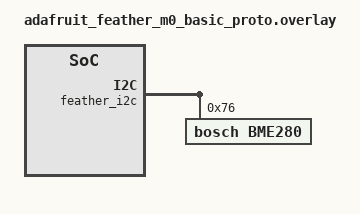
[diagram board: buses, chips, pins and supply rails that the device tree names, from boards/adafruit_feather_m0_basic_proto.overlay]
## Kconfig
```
# Copyright (c) 2020, Nordic Semiconductor ASA
# SPDX-License-Identifier: Apache-2.0

config LOG
	default n

config LOG_PRINTK
	default n

config SENSOR_LOG_LEVEL
	default 4

# Enable SPI and I2C support by default so that the sample works with
# the device connected either way. These defaults can be overridden if
# needed.
config SPI
	default n

config I2C
	default y

source "Kconfig.zephyr"
```

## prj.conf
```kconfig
CONFIG_SENSOR=y

CONFIG_BT=y
CONFIG_BT_PERIPHERAL=y
CONFIG_BT_DEVICE_NAME="BLE BME280"

CONFIG_USB_DEVICE_STACK=n

CONFIG_LOG=n
CONFIG_CONSOLE=n
CONFIG_SERIAL=n

CONFIG_PM=y
CONFIG_PM_DEVICE=y
CONFIG_PM_DEVICE_RUNTIME=y

CONFIG_SPI=n
CONFIG_BME280_TEMP_OVER_16X=y
CONFIG_BME280_PRESS_OVER_2X=y
CONFIG_BME280_STANDBY_250MS=y
CONFIG_TEMP_NRF5=n

CONFIG_ADC=y
```

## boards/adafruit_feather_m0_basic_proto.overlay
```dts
/*
 * Copyright (c) 2020 Jacek Ozimek <jacek.ozmk@gmail.com>
 *
 * SPDX-License-Identifier: Apache-2.0
 */


&feather_i2c {
	bme280: bme280@76 {
		/* 0x76 - SDO <-> GND */
		/* 0x77 - SDO <-> VCC */
		compatible = "bosch,bme280";
		reg = <0x76>;
	};
};
```

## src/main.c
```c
/*
 * Copyright (c) 2012-2014 Wind River Systems, Inc.
 * Copyright (c) 2021 Nordic Semiconductor ASA
 *
 * SPDX-License-Identifier: Apache-2.0
 */

// Von bme280
#include <zephyr/kernel.h>
#include <zephyr/device.h>
#include <zephyr/devicetree.h>
#include <zephyr/drivers/sensor.h>

// von BTHome
#include <zephyr/bluetooth/bluetooth.h>
#include <zephyr/bluetooth/uuid.h>

// von battery
#include <math.h>
#include <stdio.h>
#include <stdlib.h>
#include "battery.h"

// von BTHome
#define SERVICE_DATA_LEN 12
#define SERVICE_UUID 0xfcd2 /* BTHome service UUID */

#define IDX_TEMPL 4 /* Index of lo byte of temp in service data*/
#define IDX_TEMPH 5 /* Index of hi byte of temp in service data*/

#define IDX_HUML 7 // Index lo byte fuer Luftfeuchtigkeit
#define IDX_HUMH 8 // Index hi byte fuer Luftfeuchtigkeit

// #define IDX_PRESSL 10 // Index lo byte fuer Luftdruck
// #define IDX_PRESSM 11 // Index mittleres byte fuer Luftdruck
// #define IDX_PRESSH 12 // Index hi byte fuer Luftdruck

#define IDX_VOLTAGEL 10
#define IDX_VOLTAGEH 11

#define ADV_PARAM BT_LE_ADV_PARAM(BT_LE_ADV_OPT_CONNECTABLE, \
								  BT_GAP_ADV_SLOW_INT_MIN,   \
								  BT_GAP_ADV_SLOW_INT_MAX, NULL)

static uint8_t service_data[SERVICE_DATA_LEN] = {
	BT_UUID_16_ENCODE(SERVICE_UUID),
	0x40,

	0x02, /* Temperature */
	0x00, /* Low byte */
	0x00, /* High byte */

	0x03, /* Humidity */
	0x00, /* 50.55%  low byte*/
	0x00, /* 50.55%  high byte*/

	// 0x04, // Luftdruck
	// 0x00, // Low byte
	// 0x00, // Mittleres Byte
	// 0x00,  // High Byte

	0x4A, // Batteriespannung
	0x00, // Low byte
	0x00  // High Byte
};

static struct bt_data ad[] = {
	BT_DATA_BYTES(BT_DATA_FLAGS, BT_LE_AD_GENERAL | BT_LE_AD_NO_BREDR),
	BT_DATA(BT_DATA_NAME_COMPLETE, CONFIG_BT_DEVICE_NAME, sizeof(CONFIG_BT_DEVICE_NAME) - 1),
	BT_DATA(BT_DATA_SVC_DATA16, service_data, ARRAY_SIZE(service_data))};

static void bt_ready(int err)
{
	if (err)
	{
		return;
	}

	/* Start advertising */
	err = bt_le_adv_start(ADV_PARAM, ad, ARRAY_SIZE(ad), NULL, 0);
	if (err)
	{
		return;
	}
}

static const struct device *get_bme280_device(void)
{
	const struct device *const dev = DEVICE_DT_GET_ANY(bosch_bme280);

	if (dev == NULL)
	{
		return NULL;
	}

	if (!device_is_ready(dev))
	{
		return NULL;
	}

	return dev;
}

int main(void)
{
	// BME280
	const struct device *dev = get_bme280_device();

	if (dev == NULL)
	{
		return 0;
	}

	int err;
	int temp_data = 0;
	int hum_data = 0;
	// int press_data = 0;

	// Battery
	int rc = battery_measure_enable(true);

	if (rc != 0)
	{
		return 0;
	}

	// Loop
	for (;;)
	{
		// BME280 lesen
		struct sensor_value temp, press, humidity;

		sensor_sample_fetch(dev);
		sensor_channel_get(dev, SENSOR_CHAN_AMBIENT_TEMP, &temp);
		// sensor_channel_get(dev, SENSOR_CHAN_PRESS, &press);
		sensor_channel_get(dev, SENSOR_CHAN_HUMIDITY, &humidity);

		temp_data = temp.val1 * 100 + temp.val2 / 10000;
		hum_data = humidity.val1 * 100 + humidity.val2 / 10000;
		// press_data = press.val1 * 1000 + press.val2 / 100000; // Druck wird in kPa gemessen, statt hPa

		// Battery lesen
		int batt_mV = battery_sample();
		int batt_2digits = (batt_mV + 50) / 100;

		service_data[IDX_TEMPL] = temp_data & 0xff;
		service_data[IDX_TEMPH] = temp_data >> 8;

		service_data[IDX_HUML] = hum_data & 0xff;
		service_data[IDX_HUMH] = hum_data >> 8;

		// service_data[IDX_PRESSL] = press_data & 0xff;
		// service_data[IDX_PRESSM] = (press_data >> 8) & 0xff;
		// service_data[IDX_PRESSH] = (press_data >> 16) & 0xff;

		service_data[IDX_VOLTAGEL] = batt_2digits & 0xff;
		service_data[IDX_VOLTAGEH] = (batt_2digits >> 8) & 0xff;

		err = bt_enable(bt_ready);
		k_sleep(K_SECONDS(30));

		err = bt_le_adv_update_data(ad, ARRAY_SIZE(ad), NULL, 0);
		k_sleep(K_SECONDS(30));

		err = bt_le_adv_stop();
		k_sleep(K_SECONDS(30));

		err = bt_disable();
		k_sleep(K_MSEC(900000));
		
	}
	return 0;
}
```

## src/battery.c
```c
/*
 * Copyright (c) 2018-2019 Peter Bigot Consulting, LLC
 * Copyright (c) 2019-2020 Nordic Semiconductor ASA
 *
 * SPDX-License-Identifier: Apache-2.0
 */

#include <math.h>
#include <stdio.h>
#include <stdlib.h>

#include <zephyr/kernel.h>
#include <zephyr/init.h>
#include <zephyr/drivers/gpio.h>
#include <zephyr/drivers/adc.h>
#include <zephyr/drivers/sensor.h>
#include <zephyr/logging/log.h>

#include "battery.h"

LOG_MODULE_REGISTER(BATTERY, CONFIG_ADC_LOG_LEVEL);

#define VBATT DT_PATH(vbatt)
#define ZEPHYR_USER DT_PATH(zephyr_user)

#ifdef CONFIG_BOARD_THINGY52_NRF52832
/* This board uses a divider that reduces max voltage to
 * reference voltage (600 mV).
 */
#define BATTERY_ADC_GAIN ADC_GAIN_1
#else
/* Other boards may use dividers that only reduce battery voltage to
 * the maximum supported by the hardware (3.6 V)
 */
#define BATTERY_ADC_GAIN ADC_GAIN_1_6
#endif

struct io_channel_config {
	uint8_t channel;
};

struct divider_config {
	struct io_channel_config io_channel;
	struct gpio_dt_spec power_gpios;
	/* output_ohm is used as a flag value: if it is nonzero then
	 * the battery is measured through a voltage divider;
	 * otherwise it is assumed to be directly connected to Vdd.
	 */
	uint32_t output_ohm;
	uint32_t full_ohm;
};

static const struct divider_config divider_config = {
#if DT_NODE_HAS_STATUS(VBATT, okay)
	.io_channel = {
		DT_IO_CHANNELS_INPUT(VBATT),
	},
	.power_gpios = GPIO_DT_SPEC_GET_OR(VBATT, power_gpios, {}),
	.output_ohm = DT_PROP(VBATT, output_ohms),
	.full_ohm = DT_PROP(VBATT, full_ohms),
#else /* /vbatt exists */
	.io_channel = {
		DT_IO_CHANNELS_INPUT(ZEPHYR_USER),
	},
#endif /* /vbatt exists */
};

struct divider_data {
	const struct device *adc;
	struct adc_channel_cfg adc_cfg;
	struct adc_sequence adc_seq;
	int16_t raw;
};
static struct divider_data divider_data = {
#if DT_NODE_HAS_STATUS(VBATT, okay)
	.adc = DEVICE_DT_GET(DT_IO_CHANNELS_CTLR(VBATT)),
#else
	.adc = DEVICE_DT_GET(DT_IO_CHANNELS_CTLR(ZEPHYR_USER)),
#endif
};

static int divider_setup(void)
{
	const struct divider_config *cfg = &divider_config;
	const struct io_channel_config *iocp = &cfg->io_channel;
	const struct gpio_dt_spec *gcp = &cfg->power_gpios;
	struct divider_data *ddp = &divider_data;
	struct adc_sequence *asp = &ddp->adc_seq;
	struct adc_channel_cfg *accp = &ddp->adc_cfg;
	int rc;

	if (!device_is_ready(ddp->adc)) {
		return -ENOENT;
	}

	if (gcp->port) {
		if (!device_is_ready(gcp->port)) {
			return -ENOENT;
		}
		rc = gpio_pin_configure_dt(gcp, GPIO_OUTPUT_INACTIVE);
		if (rc != 0) {
			return rc;
		}
	}

	*asp = (struct adc_sequence){
		.channels = BIT(0),
		.buffer = &ddp->raw,
		.buffer_size = sizeof(ddp->raw),
		.oversampling = 4,
		.calibrate = true,
	};

#ifdef CONFIG_ADC_NRFX_SAADC
	*accp = (struct adc_channel_cfg){
		.gain = BATTERY_ADC_GAIN,
		.reference = ADC_REF_INTERNAL,
		.acquisition_time = ADC_ACQ_TIME(ADC_ACQ_TIME_MICROSECONDS, 40),
	};

	if (cfg->output_ohm != 0) {
		accp->input_positive = SAADC_CH_PSELP_PSELP_AnalogInput0
			+ iocp->channel;
	} else {
		accp->input_positive = SAADC_CH_PSELP_PSELP_VDD;
	}

	asp->resolution = 14;
#else /* CONFIG_ADC_var */
#error Unsupported ADC
#endif /* CONFIG_ADC_var */

	rc = adc_channel_setup(ddp->adc, accp);
	return rc;
}

static bool battery_ok;

static int battery_setup(void)
{
	int rc = divider_setup();

	battery_ok = (rc == 0);
	return rc;
}

SYS_INIT(battery_setup, APPLICATION, CONFIG_APPLICATION_INIT_PRIORITY);

int battery_measure_enable(bool enable)
{
	int rc = -ENOENT;

	if (battery_ok) {
		const struct gpio_dt_spec *gcp = &divider_config.power_gpios;

		rc = 0;
		if (gcp->port) {
			rc = gpio_pin_set_dt(gcp, enable);
		}
	}
	return rc;
}

int battery_sample(void)
{
	int rc = -ENOENT;

	if (battery_ok) {
		struct divider_data *ddp = &divider_data;
		const struct divider_config *dcp = &divider_config;
		struct adc_sequence *sp = &ddp->adc_seq;

		rc = adc_read(ddp->adc, sp);
		sp->calibrate = false;
		if (rc == 0) {
			int32_t val = ddp->raw;

			adc_raw_to_millivolts(adc_ref_internal(ddp->adc),
					      ddp->adc_cfg.gain,
					      sp->resolution,
					      &val);

			if (dcp->output_ohm != 0) {
				rc = val * (uint64_t)dcp->full_ohm
					/ dcp->output_ohm;
			} else {
				rc = val;
			}
		}
	}

	return rc;
}

unsigned int battery_level_pptt(unsigned int batt_mV,
				const struct battery_level_point *curve)
{
	const struct battery_level_point *pb = curve;

	if (batt_mV >= pb->lvl_mV) {
		/* Measured voltage above highest point, cap at maximum. */
		return pb->lvl_pptt;
	}
	/* Go down to the last point at or below the measured voltage. */
	while ((pb->lvl_pptt > 0)
	       && (batt_mV < pb->lvl_mV)) {
		++pb;
	}
	if (batt_mV < pb->lvl_mV) {
		/* Below lowest point, cap at minimum */
		return pb->lvl_pptt;
	}

	/* Linear interpolation between below and above points. */
	const struct battery_level_point *pa = pb - 1;

	return pb->lvl_pptt
	       + ((pa->lvl_pptt - pb->lvl_pptt)
		  * (batt_mV - pb->lvl_mV)
		  / (pa->lvl_mV - pb->lvl_mV));
}
```
